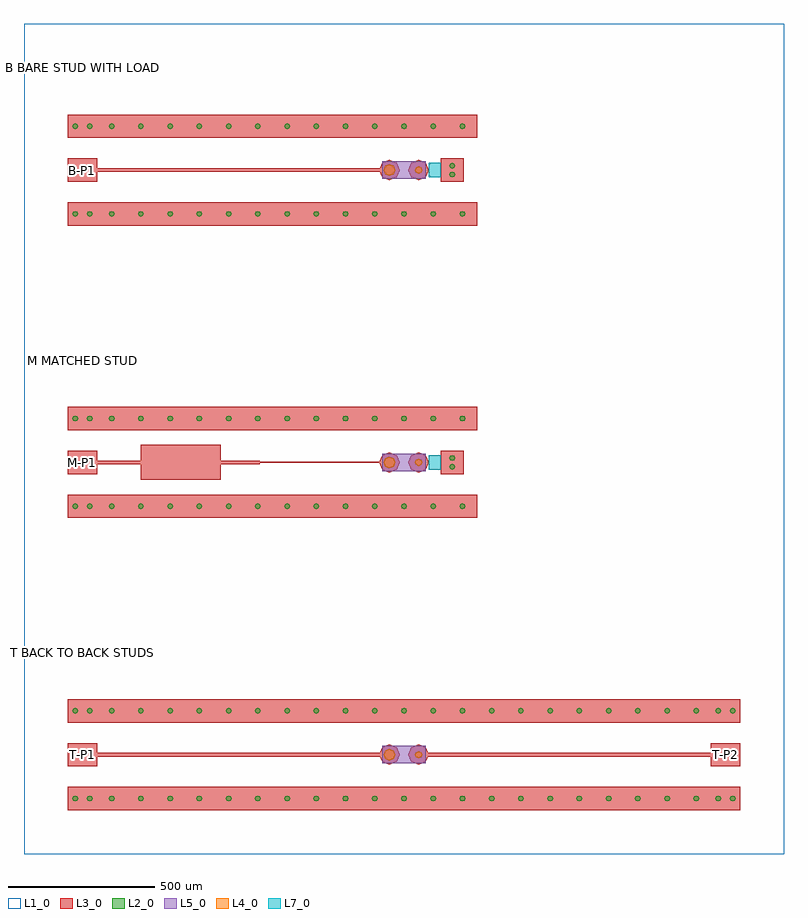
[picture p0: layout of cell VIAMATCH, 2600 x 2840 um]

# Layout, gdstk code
import gdstk
lib = gdstk.Library(unit=1e-6, precision=1e-09)
def R(c, l, rs):  # rectangles x0, y0, x1, y1
    for r in rs: c.add(gdstk.rectangle(r[:2], r[2:], *l))
def A(c, l, x, y, w, h, nx, ny, dx, dy):  # array of equal rectangles
    R(c, l, [(x+i*dx, y+j*dy, x+i*dx+w, y+j*dy+h) for i in range(nx) for j in range(ny)])
def P(c, l, *ps):  # polygons
    for p in ps: c.add(gdstk.Polygon(p, *l))
L1_0 = (1, 0)
L2_0 = (2, 0)
L3_0 = (3, 0)
L4_0 = (4, 0)
L5_0 = (5, 0)
L7_0 = (7, 0)

viamatch = lib.new_cell('VIAMATCH')
R(viamatch, L1_0, [(-1300,-1340,1300,1500)])
P(viamatch, L2_0, [(-1115,1150),(-1117.929,1157.071),(-1125,1160),(-1132.071,1157.071),(-1135,1150),(-1132.071,1142.929),(-1125,1140),(-1117.929,1142.929)],
  [(-1065,1150),(-1067.929,1157.071),(-1075,1160),(-1082.071,1157.071),(-1085,1150),(-1082.071,1142.929),(-1075,1140),(-1067.929,1142.929)],
  [(-1115,850),(-1117.929,857.071),(-1125,860),(-1132.071,857.071),(-1135,850),(-1132.071,842.929),(-1125,840),(-1117.929,842.929)],
  [(-1065,850),(-1067.929,857.071),(-1075,860),(-1082.071,857.071),(-1085,850),(-1082.071,842.929),(-1075,840),(-1067.929,842.929)],
  [(-990,1150),(-992.929,1157.071),(-1000,1160),(-1007.071,1157.071),(-1010,1150),(-1007.071,1142.929),(-1000,1140),(-992.929,1142.929)],
  [(-890,1150),(-892.929,1157.071),(-900,1160),(-907.071,1157.071),(-910,1150),(-907.071,1142.929),(-900,1140),(-892.929,1142.929)],
  [(-790,1150),(-792.929,1157.071),(-800,1160),(-807.071,1157.071),(-810,1150),(-807.071,1142.929),(-800,1140),(-792.929,1142.929)],
  [(-690,1150),(-692.929,1157.071),(-700,1160),(-707.071,1157.071),(-710,1150),(-707.071,1142.929),(-700,1140),(-692.929,1142.929)],
  [(-590,1150),(-592.929,1157.071),(-600,1160),(-607.071,1157.071),(-610,1150),(-607.071,1142.929),(-600,1140),(-592.929,1142.929)],
  [(-490,1150),(-492.929,1157.071),(-500,1160),(-507.071,1157.071),(-510,1150),(-507.071,1142.929),(-500,1140),(-492.929,1142.929)],
  [(-390,1150),(-392.929,1157.071),(-400,1160),(-407.071,1157.071),(-410,1150),(-407.071,1142.929),(-400,1140),(-392.929,1142.929)],
  [(-290,1150),(-292.929,1157.071),(-300,1160),(-307.071,1157.071),(-310,1150),(-307.071,1142.929),(-300,1140),(-292.929,1142.929)],
  [(-190,1150),(-192.929,1157.071),(-200,1160),(-207.071,1157.071),(-210,1150),(-207.071,1142.929),(-200,1140),(-192.929,1142.929)],
  [(-90,1150),(-92.929,1157.071),(-100,1160),(-107.071,1157.071),(-110,1150),(-107.071,1142.929),(-100,1140),(-92.929,1142.929)],
  [(10,1150),(7.071,1157.071),(0,1160),(-7.071,1157.071),(-10,1150),(-7.071,1142.929),(0,1140),(7.071,1142.929)],
  [(110,1150),(107.071,1157.071),(100,1160),(92.929,1157.071),(90,1150),(92.929,1142.929),(100,1140),(107.071,1142.929)],
  [(210,1150),(207.071,1157.071),(200,1160),(192.929,1157.071),(190,1150),(192.929,1142.929),(200,1140),(207.071,1142.929)],
  [(-990,850),(-992.929,857.071),(-1000,860),(-1007.071,857.071),(-1010,850),(-1007.071,842.929),(-1000,840),(-992.929,842.929)],
  [(-890,850),(-892.929,857.071),(-900,860),(-907.071,857.071),(-910,850),(-907.071,842.929),(-900,840),(-892.929,842.929)],
  [(-790,850),(-792.929,857.071),(-800,860),(-807.071,857.071),(-810,850),(-807.071,842.929),(-800,840),(-792.929,842.929)],
  [(-690,850),(-692.929,857.071),(-700,860),(-707.071,857.071),(-710,850),(-707.071,842.929),(-700,840),(-692.929,842.929)],
  [(-590,850),(-592.929,857.071),(-600,860),(-607.071,857.071),(-610,850),(-607.071,842.929),(-600,840),(-592.929,842.929)],
  [(-490,850),(-492.929,857.071),(-500,860),(-507.071,857.071),(-510,850),(-507.071,842.929),(-500,840),(-492.929,842.929)],
  [(-390,850),(-392.929,857.071),(-400,860),(-407.071,857.071),(-410,850),(-407.071,842.929),(-400,840),(-392.929,842.929)],
  [(-290,850),(-292.929,857.071),(-300,860),(-307.071,857.071),(-310,850),(-307.071,842.929),(-300,840),(-292.929,842.929)],
  [(-190,850),(-192.929,857.071),(-200,860),(-207.071,857.071),(-210,850),(-207.071,842.929),(-200,840),(-192.929,842.929)],
  [(-90,850),(-92.929,857.071),(-100,860),(-107.071,857.071),(-110,850),(-107.071,842.929),(-100,840),(-92.929,842.929)],
  [(10,850),(7.071,857.071),(0,860),(-7.071,857.071),(-10,850),(-7.071,842.929),(0,840),(7.071,842.929)],
  [(110,850),(107.071,857.071),(100,860),(92.929,857.071),(90,850),(92.929,842.929),(100,840),(107.071,842.929)],
  [(210,850),(207.071,857.071),(200,860),(192.929,857.071),(190,850),(192.929,842.929),(200,840),(207.071,842.929)],
  [(175,1015),(172.071,1022.071),(165,1025),(157.929,1022.071),(155,1015),(157.929,1007.929),(165,1005),(172.071,1007.929)],
  [(175,985),(172.071,992.071),(165,995),(157.929,992.071),(155,985),(157.929,977.929),(165,975),(172.071,977.929)],
  [(-1115,150),(-1117.929,157.071),(-1125,160),(-1132.071,157.071),(-1135,150),(-1132.071,142.929),(-1125,140),(-1117.929,142.929)],
  [(-1065,150),(-1067.929,157.071),(-1075,160),(-1082.071,157.071),(-1085,150),(-1082.071,142.929),(-1075,140),(-1067.929,142.929)],
  [(-1115,-150),(-1117.929,-142.929),(-1125,-140),(-1132.071,-142.929),(-1135,-150),(-1132.071,-157.071),(-1125,-160),(-1117.929,-157.071)],
  [(-1065,-150),(-1067.929,-142.929),(-1075,-140),(-1082.071,-142.929),(-1085,-150),(-1082.071,-157.071),(-1075,-160),(-1067.929,-157.071)],
  [(-990,150),(-992.929,157.071),(-1000,160),(-1007.071,157.071),(-1010,150),(-1007.071,142.929),(-1000,140),(-992.929,142.929)],
  [(-890,150),(-892.929,157.071),(-900,160),(-907.071,157.071),(-910,150),(-907.071,142.929),(-900,140),(-892.929,142.929)],
  [(-790,150),(-792.929,157.071),(-800,160),(-807.071,157.071),(-810,150),(-807.071,142.929),(-800,140),(-792.929,142.929)],
  [(-690,150),(-692.929,157.071),(-700,160),(-707.071,157.071),(-710,150),(-707.071,142.929),(-700,140),(-692.929,142.929)],
  [(-590,150),(-592.929,157.071),(-600,160),(-607.071,157.071),(-610,150),(-607.071,142.929),(-600,140),(-592.929,142.929)],
  [(-490,150),(-492.929,157.071),(-500,160),(-507.071,157.071),(-510,150),(-507.071,142.929),(-500,140),(-492.929,142.929)],
  [(-390,150),(-392.929,157.071),(-400,160),(-407.071,157.071),(-410,150),(-407.071,142.929),(-400,140),(-392.929,142.929)],
  [(-290,150),(-292.929,157.071),(-300,160),(-307.071,157.071),(-310,150),(-307.071,142.929),(-300,140),(-292.929,142.929)],
  [(-190,150),(-192.929,157.071),(-200,160),(-207.071,157.071),(-210,150),(-207.071,142.929),(-200,140),(-192.929,142.929)],
  [(-90,150),(-92.929,157.071),(-100,160),(-107.071,157.071),(-110,150),(-107.071,142.929),(-100,140),(-92.929,142.929)],
  [(10,150),(7.071,157.071),(0,160),(-7.071,157.071),(-10,150),(-7.071,142.929),(0,140),(7.071,142.929)],
  [(110,150),(107.071,157.071),(100,160),(92.929,157.071),(90,150),(92.929,142.929),(100,140),(107.071,142.929)],
  [(210,150),(207.071,157.071),(200,160),(192.929,157.071),(190,150),(192.929,142.929),(200,140),(207.071,142.929)],
  [(-990,-150),(-992.929,-142.929),(-1000,-140),(-1007.071,-142.929),(-1010,-150),(-1007.071,-157.071),(-1000,-160),(-992.929,-157.071)],
  [(-890,-150),(-892.929,-142.929),(-900,-140),(-907.071,-142.929),(-910,-150),(-907.071,-157.071),(-900,-160),(-892.929,-157.071)],
  [(-790,-150),(-792.929,-142.929),(-800,-140),(-807.071,-142.929),(-810,-150),(-807.071,-157.071),(-800,-160),(-792.929,-157.071)],
  [(-690,-150),(-692.929,-142.929),(-700,-140),(-707.071,-142.929),(-710,-150),(-707.071,-157.071),(-700,-160),(-692.929,-157.071)],
  [(-590,-150),(-592.929,-142.929),(-600,-140),(-607.071,-142.929),(-610,-150),(-607.071,-157.071),(-600,-160),(-592.929,-157.071)],
  [(-490,-150),(-492.929,-142.929),(-500,-140),(-507.071,-142.929),(-510,-150),(-507.071,-157.071),(-500,-160),(-492.929,-157.071)],
  [(-390,-150),(-392.929,-142.929),(-400,-140),(-407.071,-142.929),(-410,-150),(-407.071,-157.071),(-400,-160),(-392.929,-157.071)],
  [(-290,-150),(-292.929,-142.929),(-300,-140),(-307.071,-142.929),(-310,-150),(-307.071,-157.071),(-300,-160),(-292.929,-157.071)],
  [(-190,-150),(-192.929,-142.929),(-200,-140),(-207.071,-142.929),(-210,-150),(-207.071,-157.071),(-200,-160),(-192.929,-157.071)],
  [(-90,-150),(-92.929,-142.929),(-100,-140),(-107.071,-142.929),(-110,-150),(-107.071,-157.071),(-100,-160),(-92.929,-157.071)],
  [(10,-150),(7.071,-142.929),(0,-140),(-7.071,-142.929),(-10,-150),(-7.071,-157.071),(0,-160),(7.071,-157.071)],
  [(110,-150),(107.071,-142.929),(100,-140),(92.929,-142.929),(90,-150),(92.929,-157.071),(100,-160),(107.071,-157.071)],
  [(210,-150),(207.071,-142.929),(200,-140),(192.929,-142.929),(190,-150),(192.929,-157.071),(200,-160),(207.071,-157.071)],
  [(175,15),(172.071,22.071),(165,25),(157.929,22.071),(155,15),(157.929,7.929),(165,5),(172.071,7.929)],
  [(175,-15),(172.071,-7.929),(165,-5),(157.929,-7.929),(155,-15),(157.929,-22.071),(165,-25),(172.071,-22.071)],
  [(-990,-850),(-992.929,-842.929),(-1000,-840),(-1007.071,-842.929),(-1010,-850),(-1007.071,-857.071),(-1000,-860),(-992.929,-857.071)],
  [(-890,-850),(-892.929,-842.929),(-900,-840),(-907.071,-842.929),(-910,-850),(-907.071,-857.071),(-900,-860),(-892.929,-857.071)],
  [(-790,-850),(-792.929,-842.929),(-800,-840),(-807.071,-842.929),(-810,-850),(-807.071,-857.071),(-800,-860),(-792.929,-857.071)],
  [(-690,-850),(-692.929,-842.929),(-700,-840),(-707.071,-842.929),(-710,-850),(-707.071,-857.071),(-700,-860),(-692.929,-857.071)],
  [(-590,-850),(-592.929,-842.929),(-600,-840),(-607.071,-842.929),(-610,-850),(-607.071,-857.071),(-600,-860),(-592.929,-857.071)],
  [(-490,-850),(-492.929,-842.929),(-500,-840),(-507.071,-842.929),(-510,-850),(-507.071,-857.071),(-500,-860),(-492.929,-857.071)],
  [(-390,-850),(-392.929,-842.929),(-400,-840),(-407.071,-842.929),(-410,-850),(-407.071,-857.071),(-400,-860),(-392.929,-857.071)],
  [(-290,-850),(-292.929,-842.929),(-300,-840),(-307.071,-842.929),(-310,-850),(-307.071,-857.071),(-300,-860),(-292.929,-857.071)],
  [(-190,-850),(-192.929,-842.929),(-200,-840),(-207.071,-842.929),(-210,-850),(-207.071,-857.071),(-200,-860),(-192.929,-857.071)],
  [(-90,-850),(-92.929,-842.929),(-100,-840),(-107.071,-842.929),(-110,-850),(-107.071,-857.071),(-100,-860),(-92.929,-857.071)],
  [(10,-850),(7.071,-842.929),(0,-840),(-7.071,-842.929),(-10,-850),(-7.071,-857.071),(0,-860),(7.071,-857.071)],
  [(110,-850),(107.071,-842.929),(100,-840),(92.929,-842.929),(90,-850),(92.929,-857.071),(100,-860),(107.071,-857.071)],
  [(210,-850),(207.071,-842.929),(200,-840),(192.929,-842.929),(190,-850),(192.929,-857.071),(200,-860),(207.071,-857.071)],
  [(310,-850),(307.071,-842.929),(300,-840),(292.929,-842.929),(290,-850),(292.929,-857.071),(300,-860),(307.071,-857.071)],
  [(410,-850),(407.071,-842.929),(400,-840),(392.929,-842.929),(390,-850),(392.929,-857.071),(400,-860),(407.071,-857.071)],
  [(510,-850),(507.071,-842.929),(500,-840),(492.929,-842.929),(490,-850),(492.929,-857.071),(500,-860),(507.071,-857.071)],
  [(610,-850),(607.071,-842.929),(600,-840),(592.929,-842.929),(590,-850),(592.929,-857.071),(600,-860),(607.071,-857.071)],
  [(710,-850),(707.071,-842.929),(700,-840),(692.929,-842.929),(690,-850),(692.929,-857.071),(700,-860),(707.071,-857.071)],
  [(810,-850),(807.071,-842.929),(800,-840),(792.929,-842.929),(790,-850),(792.929,-857.071),(800,-860),(807.071,-857.071)],
  [(910,-850),(907.071,-842.929),(900,-840),(892.929,-842.929),(890,-850),(892.929,-857.071),(900,-860),(907.071,-857.071)],
  [(1010,-850),(1007.071,-842.929),(1000,-840),(992.929,-842.929),(990,-850),(992.929,-857.071),(1000,-860),(1007.071,-857.071)],
  [(-990,-1150),(-992.929,-1142.929),(-1000,-1140),(-1007.071,-1142.929),(-1010,-1150),(-1007.071,-1157.071),(-1000,-1160),(-992.929,-1157.071)],
  [(-890,-1150),(-892.929,-1142.929),(-900,-1140),(-907.071,-1142.929),(-910,-1150),(-907.071,-1157.071),(-900,-1160),(-892.929,-1157.071)],
  [(-790,-1150),(-792.929,-1142.929),(-800,-1140),(-807.071,-1142.929),(-810,-1150),(-807.071,-1157.071),(-800,-1160),(-792.929,-1157.071)],
  [(-690,-1150),(-692.929,-1142.929),(-700,-1140),(-707.071,-1142.929),(-710,-1150),(-707.071,-1157.071),(-700,-1160),(-692.929,-1157.071)],
  [(-590,-1150),(-592.929,-1142.929),(-600,-1140),(-607.071,-1142.929),(-610,-1150),(-607.071,-1157.071),(-600,-1160),(-592.929,-1157.071)],
  [(-490,-1150),(-492.929,-1142.929),(-500,-1140),(-507.071,-1142.929),(-510,-1150),(-507.071,-1157.071),(-500,-1160),(-492.929,-1157.071)],
  [(-390,-1150),(-392.929,-1142.929),(-400,-1140),(-407.071,-1142.929),(-410,-1150),(-407.071,-1157.071),(-400,-1160),(-392.929,-1157.071)],
  [(-290,-1150),(-292.929,-1142.929),(-300,-1140),(-307.071,-1142.929),(-310,-1150),(-307.071,-1157.071),(-300,-1160),(-292.929,-1157.071)],
  [(-190,-1150),(-192.929,-1142.929),(-200,-1140),(-207.071,-1142.929),(-210,-1150),(-207.071,-1157.071),(-200,-1160),(-192.929,-1157.071)],
  [(-90,-1150),(-92.929,-1142.929),(-100,-1140),(-107.071,-1142.929),(-110,-1150),(-107.071,-1157.071),(-100,-1160),(-92.929,-1157.071)],
  [(10,-1150),(7.071,-1142.929),(0,-1140),(-7.071,-1142.929),(-10,-1150),(-7.071,-1157.071),(0,-1160),(7.071,-1157.071)],
  [(110,-1150),(107.071,-1142.929),(100,-1140),(92.929,-1142.929),(90,-1150),(92.929,-1157.071),(100,-1160),(107.071,-1157.071)],
  [(210,-1150),(207.071,-1142.929),(200,-1140),(192.929,-1142.929),(190,-1150),(192.929,-1157.071),(200,-1160),(207.071,-1157.071)],
  [(310,-1150),(307.071,-1142.929),(300,-1140),(292.929,-1142.929),(290,-1150),(292.929,-1157.071),(300,-1160),(307.071,-1157.071)],
  [(410,-1150),(407.071,-1142.929),(400,-1140),(392.929,-1142.929),(390,-1150),(392.929,-1157.071),(400,-1160),(407.071,-1157.071)],
  [(510,-1150),(507.071,-1142.929),(500,-1140),(492.929,-1142.929),(490,-1150),(492.929,-1157.071),(500,-1160),(507.071,-1157.071)],
  [(610,-1150),(607.071,-1142.929),(600,-1140),(592.929,-1142.929),(590,-1150),(592.929,-1157.071),(600,-1160),(607.071,-1157.071)],
  [(710,-1150),(707.071,-1142.929),(700,-1140),(692.929,-1142.929),(690,-1150),(692.929,-1157.071),(700,-1160),(707.071,-1157.071)],
  [(810,-1150),(807.071,-1142.929),(800,-1140),(792.929,-1142.929),(790,-1150),(792.929,-1157.071),(800,-1160),(807.071,-1157.071)],
  [(910,-1150),(907.071,-1142.929),(900,-1140),(892.929,-1142.929),(890,-1150),(892.929,-1157.071),(900,-1160),(907.071,-1157.071)],
  [(1010,-1150),(1007.071,-1142.929),(1000,-1140),(992.929,-1142.929),(990,-1150),(992.929,-1157.071),(1000,-1160),(1007.071,-1157.071)],
  [(-1115,-850),(-1117.929,-842.929),(-1125,-840),(-1132.071,-842.929),(-1135,-850),(-1132.071,-857.071),(-1125,-860),(-1117.929,-857.071)],
  [(-1065,-850),(-1067.929,-842.929),(-1075,-840),(-1082.071,-842.929),(-1085,-850),(-1082.071,-857.071),(-1075,-860),(-1067.929,-857.071)],
  [(-1115,-1150),(-1117.929,-1142.929),(-1125,-1140),(-1132.071,-1142.929),(-1135,-1150),(-1132.071,-1157.071),(-1125,-1160),(-1117.929,-1157.071)],
  [(-1065,-1150),(-1067.929,-1142.929),(-1075,-1140),(-1082.071,-1142.929),(-1085,-1150),(-1082.071,-1157.071),(-1075,-1160),(-1067.929,-1157.071)],
  [(1085,-850),(1082.071,-842.929),(1075,-840),(1067.929,-842.929),(1065,-850),(1067.929,-857.071),(1075,-860),(1082.071,-857.071)],
  [(1135,-850),(1132.071,-842.929),(1125,-840),(1117.929,-842.929),(1115,-850),(1117.929,-857.071),(1125,-860),(1132.071,-857.071)],
  [(1085,-1150),(1082.071,-1142.929),(1075,-1140),(1067.929,-1142.929),(1065,-1150),(1067.929,-1157.071),(1075,-1160),(1082.071,-1157.071)],
  [(1135,-1150),(1132.071,-1142.929),(1125,-1140),(1117.929,-1142.929),(1115,-1150),(1117.929,-1157.071),(1125,-1160),(1132.071,-1157.071)])
A(viamatch, L3_0, -1150, -1190, 100, 80, 1, 3, 0, 150)
A(viamatch, L3_0, 1050, -1190, 100, 80, 1, 3, 0, 150)
A(viamatch, L3_0, -1150, -190, 100, 80, 1, 3, 0, 150)
A(viamatch, L3_0, -1150, 810, 100, 80, 1, 3, 0, 150)
R(viamatch, L3_0, [(-1050,-1190,1050,-1110), (-1050,-1006.216,-50,-993.784), (50,-1006.216,1050,-993.784), (-1050,-890,1050,-810), (-1050,-190,250,-110), (-900,-60,-627.456,60), (125,-40,205,40), (-1050,-6.216,-900,6.216), (-627.456,-6.216,-493.261,6.216), (-493.261,-2,-50,2), (-1050,110,250,190), (-1050,810,250,890), (125,960,205,1040), (-1050,993.784,-50,1006.216), (-1050,1110,250,1190)])
P(viamatch, L3_0, [(-15,1000),(-25.251,1024.749),(-50,1035),(-74.749,1024.749),(-85,1000),(-74.749,975.251),(-50,965),(-25.251,975.251)],
  [(85,1000),(74.749,1024.749),(50,1035),(25.251,1024.749),(15,1000),(25.251,975.251),(50,965),(74.749,975.251)],
  [(-15,0),(-25.251,24.749),(-50,35),(-74.749,24.749),(-85,0),(-74.749,-24.749),(-50,-35),(-25.251,-24.749)],
  [(85,0),(74.749,24.749),(50,35),(25.251,24.749),(15,0),(25.251,-24.749),(50,-35),(74.749,-24.749)],
  [(-15,-1000),(-25.251,-975.251),(-50,-965),(-74.749,-975.251),(-85,-1000),(-74.749,-1024.749),(-50,-1035),(-25.251,-1024.749)],
  [(85,-1000),(74.749,-975.251),(50,-965),(25.251,-975.251),(15,-1000),(25.251,-1024.749),(50,-1035),(74.749,-1024.749)])
P(viamatch, L4_0, [(-30,1000),(-35.858,1014.142),(-50,1020),(-64.142,1014.142),(-70,1000),(-64.142,985.858),(-50,980),(-35.858,985.858)],
  [(62.5,1000),(58.839,1008.839),(50,1012.5),(41.161,1008.839),(37.5,1000),(41.161,991.161),(50,987.5),(58.839,991.161)],
  [(-30,0),(-35.858,14.142),(-50,20),(-64.142,14.142),(-70,0),(-64.142,-14.142),(-50,-20),(-35.858,-14.142)],
  [(62.5,0),(58.839,8.839),(50,12.5),(41.161,8.839),(37.5,0),(41.161,-8.839),(50,-12.5),(58.839,-8.839)],
  [(-30,-1000),(-35.858,-985.858),(-50,-980),(-64.142,-985.858),(-70,-1000),(-64.142,-1014.142),(-50,-1020),(-35.858,-1014.142)],
  [(62.5,-1000),(58.839,-991.161),(50,-987.5),(41.161,-991.161),(37.5,-1000),(41.161,-1008.839),(50,-1012.5),(58.839,-1008.839)])
A(viamatch, L5_0, -75, -1030, 150, 60, 1, 3, 0, 1000)
R(viamatch, L7_0, [(85,-25,125,25), (85,975,125,1025)])
viamatch.add(gdstk.Label('B-P1', (-1100,1000), layer=10, texttype=0))
viamatch.add(gdstk.Label('B BARE STUD WITH LOAD', (-1100,1350), layer=11, texttype=0))
viamatch.add(gdstk.Label('M-P1', (-1100,0), layer=10, texttype=0))
viamatch.add(gdstk.Label('M MATCHED STUD', (-1100,350), layer=11, texttype=0))
viamatch.add(gdstk.Label('T-P1', (-1100,-1000), layer=10, texttype=0))
viamatch.add(gdstk.Label('T-P2', (1100,-1000), layer=10, texttype=0))
viamatch.add(gdstk.Label('T BACK TO BACK STUDS', (-1100,-650), layer=11, texttype=0))

lib.write_gds('VIAMATCH.gds')
